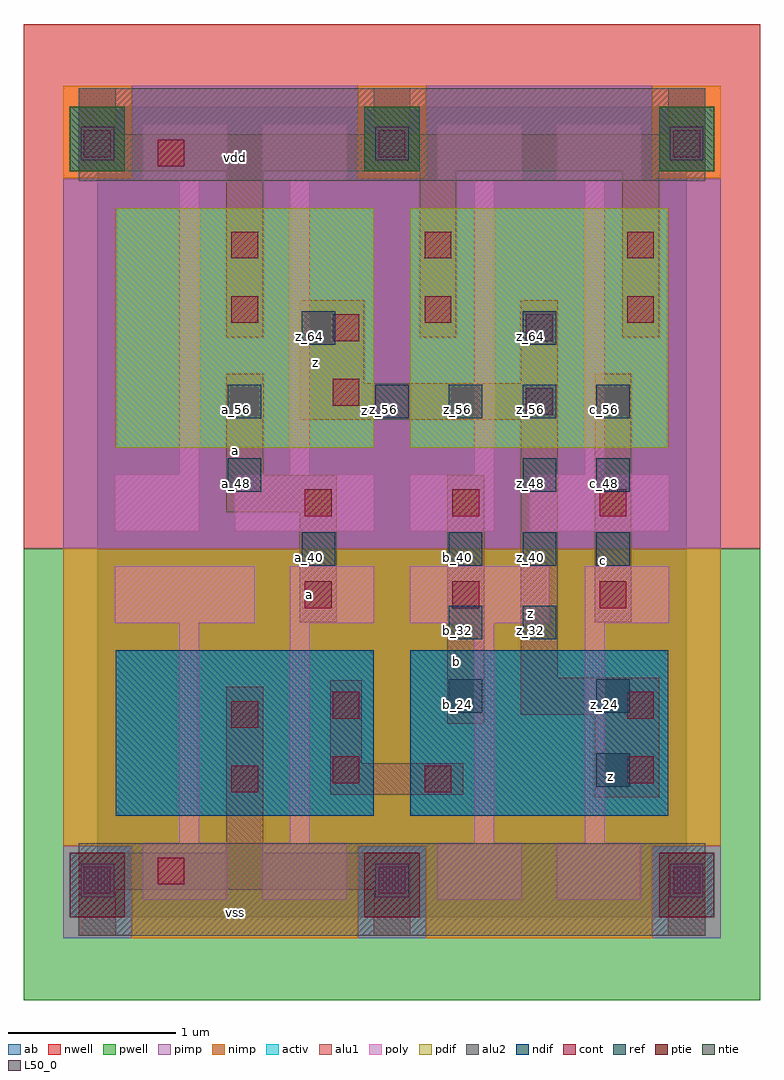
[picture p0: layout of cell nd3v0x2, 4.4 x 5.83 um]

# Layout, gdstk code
import gdstk
lib = gdstk.Library(unit=1e-6, precision=2.5e-09)
def R(c, l, rs):  # rectangles x0, y0, x1, y1
    for r in rs: c.add(gdstk.rectangle(r[:2], r[2:], *l))
def A(c, l, x, y, w, h, nx, ny, dx, dy):  # array of equal rectangles
    R(c, l, [(x+i*dx, y+j*dy, x+i*dx+w, y+j*dy+h) for i in range(nx) for j in range(ny)])
ndif = (3, 0)
pdif = (4, 0)
ntie = (5, 0)
ptie = (6, 0)
ref = (24, 0)
cont = (25, 0)
pwell = (41, 0)
nwell = (42, 0)
activ = (43, 0)
pimp = (44, 0)
nimp = (45, 0)
poly = (46, 0)
alu1 = (49, 0)
L50_0 = (50, 0)
alu2 = (51, 0)
ab = (63, 0)

nd3v0x2 = lib.new_cell('nd3v0x2')
R(nd3v0x2, ndif, [(0.11,0.605,1.65,1.595), (1.87,0.605,3.41,1.595)])
R(nd3v0x2, pdif, [(0.11,2.805,1.65,4.235), (1.87,2.805,3.41,4.235)])
A(nd3v0x2, ntie, -0.165, 4.455, 0.33, 0.385, 3, 1, 1.76, 0)
A(nd3v0x2, ptie, -0.165, 0, 0.33, 0.385, 3, 1, 1.76, 0)
A(nd3v0x2, ref, 2.54, 1.66, 0.2, 0.2, 1, 3, 0, 0.88)
A(nd3v0x2, ref, 2.1, 2.1, 0.2, 0.2, 3, 1, 0.44, 0)
A(nd3v0x2, ref, 1.66, 2.98, 0.2, 0.2, 4, 1, 0.44, 0)
R(nd3v0x2, ref, [(2.98,0.78,3.18,0.98), (2.1,1.22,2.3,1.42), (2.98,1.22,3.18,1.42), (2.1,1.66,2.3,1.86), (1.22,2.1,1.42,2.3), (0.78,2.54,0.98,2.74), (2.98,2.54,3.18,2.74), (0.78,2.98,0.98,3.18), (1.22,3.42,1.42,3.62)])
A(nd3v0x2, cont, -0.08, 0.14, 0.16, 0.16, 3, 2, 1.76, 4.4)
A(nd3v0x2, cont, 1.24, 1.845, 0.16, 0.16, 3, 2, 0.88, 0.55)
R(nd3v0x2, cont, [(0.36,0.195,0.52,0.355), (0.8,0.745,0.96,0.905), (1.955,0.745,2.115,0.905), (1.405,0.8,1.565,0.96), (3.165,0.8,3.325,0.96), (0.8,1.13,0.96,1.29), (1.405,1.185,1.565,1.345), (3.165,1.185,3.325,1.345), (2.56,3,2.72,3.16), (1.405,3.055,1.565,3.215), (1.405,3.44,1.565,3.6), (2.56,3.44,2.72,3.6), (0.8,3.55,0.96,3.71), (1.955,3.55,2.115,3.71), (3.165,3.55,3.325,3.71), (0.8,3.935,0.96,4.095), (1.955,3.935,2.115,4.095), (3.165,3.935,3.325,4.095), (0.36,4.485,0.52,4.645)])
R(nd3v0x2, pwell, [(-0.44,-0.495,3.96,2.2)])
R(nd3v0x2, nwell, [(-0.44,2.2,3.96,5.335)])
A(nd3v0x2, activ, -0.165, 0, 0.33, 0.385, 3, 2, 1.76, 4.455)
R(nd3v0x2, activ, [(0.11,0.605,1.65,1.595), (1.87,0.605,3.41,1.595), (0.11,2.805,1.65,4.235), (1.87,2.805,3.41,4.235)])
A(nd3v0x2, pimp, -0.205, -0.125, 0.41, 0.55, 3, 1, 1.76, 0)
R(nd3v0x2, pimp, [(-0.205,2.2,3.725,4.415), (0.205,4.415,1.555,4.965), (1.965,4.415,3.315,4.965)])
A(nd3v0x2, nimp, -0.205, 4.415, 0.41, 0.55, 3, 1, 1.76, 0)
R(nd3v0x2, nimp, [(0.205,-0.125,1.555,0.425), (1.965,-0.125,3.315,0.425), (-0.205,0.425,3.725,2.2)])
R(nd3v0x2, poly, [(0.27,0.105,0.775,0.445), (0.985,0.105,1.49,0.445), (2.03,0.105,2.535,0.445), (2.745,0.105,3.25,0.445), (0.49,0.445,0.61,1.755), (1.15,0.445,1.27,1.755), (2.25,0.445,2.37,1.755), (2.91,0.445,3.03,1.755), (0.105,1.755,0.94,2.095), (1.15,1.755,1.655,2.095), (1.865,1.755,2.7,2.095), (2.91,1.755,3.415,2.095), (0.105,2.305,0.61,2.645), (0.82,2.305,1.655,2.645), (1.865,2.305,2.37,2.645), (2.58,2.305,3.415,2.645), (0.49,2.645,0.61,4.395), (1.15,2.645,1.27,4.395), (2.25,2.645,2.37,4.395), (2.91,2.645,3.03,4.395), (0.27,4.395,0.775,4.735), (0.985,4.395,1.49,4.735), (2.03,4.395,2.535,4.735), (2.745,4.395,3.25,4.735)])
A(nd3v0x2, alu1, -0.11, 4.675, 0.22, 0.275, 3, 1, 1.76, 0)
R(nd3v0x2, alu1, [(-0.11,-0.11,0.11,0.165), (1.65,-0.11,1.87,0.165), (3.41,-0.11,3.63,0.385), (-0.11,0.165,1.87,0.385), (0.77,0.385,0.99,1.375), (2.97,0.715,3.355,1.21), (1.39,0.73,2.185,0.92), (1.39,0.92,1.58,1.415), (2.09,1.155,2.31,2.64), (2.53,1.21,3.355,1.43), (2.53,1.43,2.75,2.97), (1.21,1.76,1.43,2.42), (2.97,1.76,3.19,3.245), (0.77,2.42,1.43,2.64), (0.77,2.64,0.99,3.245), (1.21,2.97,2.75,3.19), (1.21,3.19,1.595,3.685), (2.53,3.19,2.75,3.685), (0.77,3.465,0.99,4.455), (1.925,3.465,2.145,4.455), (3.135,3.465,3.355,4.455), (-0.11,4.455,3.63,4.675)])
A(nd3v0x2, L50_0, -0.1, 0.12, 0.2, 0.2, 3, 2, 1.76, 4.4)
R(nd3v0x2, alu2, [(-0.11,-0.11,3.63,0.44), (-0.11,4.4,3.63,4.95)])
R(nd3v0x2, ab, [(0,0,3.52,4.84)])
nd3v0x2.add(gdstk.Label('z', (3.065,0.8375), layer=49, texttype=0))
nd3v0x2.add(gdstk.Label('c', (3.025,2.13), layer=49, texttype=0))
nd3v0x2.add(gdstk.Label('z', (2.585,1.815), layer=49, texttype=0))
nd3v0x2.add(gdstk.Label('b', (2.145,1.525), layer=49, texttype=0))
nd3v0x2.add(gdstk.Label('a', (1.265,1.925), layer=49, texttype=0))
nd3v0x2.add(gdstk.Label('z', (1.595,3.025), layer=49, texttype=0))
nd3v0x2.add(gdstk.Label('z', (1.305,3.3125), layer=49, texttype=0))
nd3v0x2.add(gdstk.Label('a', (0.825,2.79), layer=49, texttype=0))
nd3v0x2.add(gdstk.Label('vss', (0.825,0.0275), layer=51, texttype=0))
nd3v0x2.add(gdstk.Label('vdd', (0.825,4.5375), layer=51, texttype=0))
nd3v0x2.add(gdstk.Label('a_40', (1.27,2.15), layer=24, texttype=0))
nd3v0x2.add(gdstk.Label('a_48', (0.83,2.59), layer=24, texttype=0))
nd3v0x2.add(gdstk.Label('a_56', (0.83,3.03), layer=24, texttype=0))
nd3v0x2.add(gdstk.Label('b_32', (2.15,1.71), layer=24, texttype=0))
nd3v0x2.add(gdstk.Label('b_40', (2.15,2.15), layer=24, texttype=0))
nd3v0x2.add(gdstk.Label('c_48', (3.03,2.59), layer=24, texttype=0))
nd3v0x2.add(gdstk.Label('c_56', (3.03,3.03), layer=24, texttype=0))
nd3v0x2.add(gdstk.Label('c_40', (3.03,2.15), layer=24, texttype=0))
nd3v0x2.add(gdstk.Label('z_16', (3.03,0.83), layer=24, texttype=0))
nd3v0x2.add(gdstk.Label('z_24', (3.03,1.27), layer=24, texttype=0))
nd3v0x2.add(gdstk.Label('z_32', (2.59,1.71), layer=24, texttype=0))
nd3v0x2.add(gdstk.Label('z_40', (2.59,2.15), layer=24, texttype=0))
nd3v0x2.add(gdstk.Label('z_48', (2.59,2.59), layer=24, texttype=0))
nd3v0x2.add(gdstk.Label('z_56', (2.59,3.03), layer=24, texttype=0))
nd3v0x2.add(gdstk.Label('z_56', (2.15,3.03), layer=24, texttype=0))
nd3v0x2.add(gdstk.Label('z_56', (1.71,3.03), layer=24, texttype=0))
nd3v0x2.add(gdstk.Label('z_64', (2.59,3.47), layer=24, texttype=0))
nd3v0x2.add(gdstk.Label('z_64', (1.27,3.47), layer=24, texttype=0))
nd3v0x2.add(gdstk.Label('b_24', (2.15,1.27), layer=24, texttype=0))

lib.write_gds('nd3v0x2.gds')
